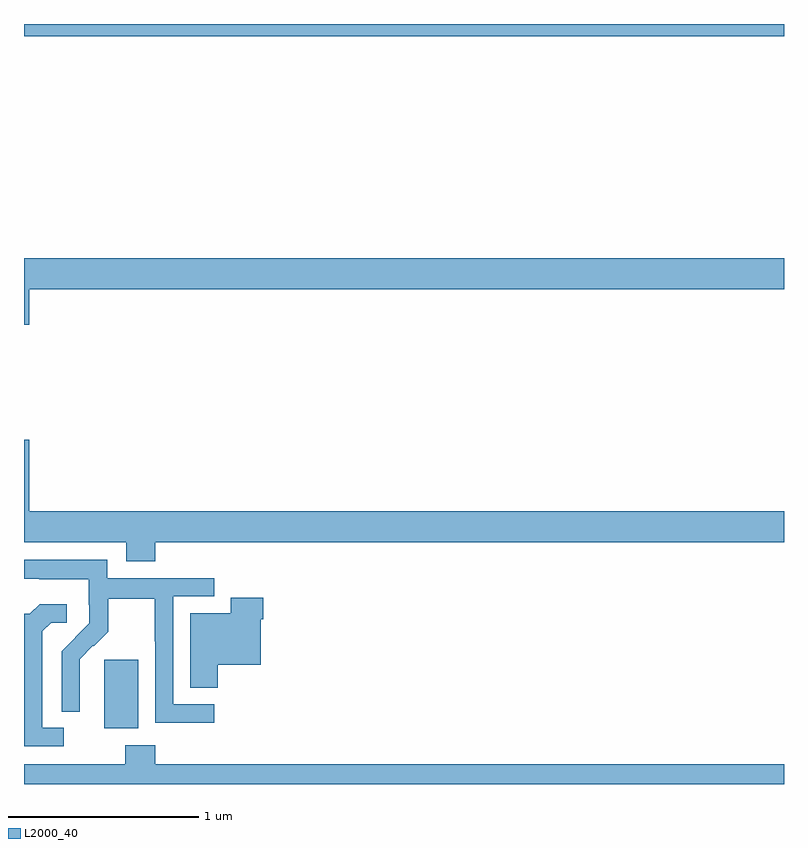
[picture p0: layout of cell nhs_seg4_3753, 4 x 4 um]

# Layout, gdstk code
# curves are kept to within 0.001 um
import gdstk
lib = gdstk.Library(unit=1e-6, precision=1e-09)
def R(c, l, rs):  # rectangles x0, y0, x1, y1
    for r in rs: c.add(gdstk.rectangle(r[:2], r[2:], *l))
def P(c, l, *ps):  # polygons
    for p in ps: c.add(gdstk.Polygon(p, *l))
L2000_40 = (2000, 40)

nhs_seg4_3753 = lib.new_cell('nhs_seg4_3753')
R(nhs_seg4_3753, L2000_40, [(309.422,777.194,309.601,777.555), (309,780.836,313,780.9)])
P(nhs_seg4_3753, L2000_40, [(309.028,779.504),(313,779.504),(313,779.668),(309,779.668),(309,779.316),(309.028,779.316)],
  [(309.692,778.172),(313,778.172),(313,778.336),(309.028,778.336),(309.028,778.711),(309,778.711),(309,778.172),(309.539,778.172),(309.539,778.073),(309.692,778.073)],
  [(310,777.321),(309.786,777.321),(309.786,777.888),(310,777.888),(310,777.984),(309.438,777.984),(309.438,778.081),(309,778.081),(309,777.981),(309.079,777.981),(309.079,777.977),(309.342,777.977),(309.342,777.843),(309.344,777.843),(309.344,777.746),(309.198,777.598),(309.198,777.28),(309.294,777.28),(309.293,777.557),(309.363,777.627),(309.366,777.624),(309.443,777.701),(309.443,777.876),(309.688,777.876),(309.688,777.652),(309.69,777.652),(309.69,777.223),(310,777.223)],
  [(310.019,777.527),(310.246,777.527),(310.246,777.767),(310.259,777.767),(310.259,777.88),(310.088,777.88),(310.088,777.799),(309.875,777.799),(309.875,777.406),(310.019,777.406)],
  [(309.208,777.195),(309.097,777.195),(309.097,777.703),(309.144,777.75),(309.226,777.75),(309.226,777.847),(309.082,777.847),(309.03,777.795),(309,777.795),(309,777.099),(309.208,777.099)],
  [(313,777.004),(309.692,777.004),(309.692,777.103),(309.532,777.103),(309.532,777.004),(309,777.004),(309,776.9),(313,776.9)])

lib.write_gds('nhs_seg4_3753.gds')
